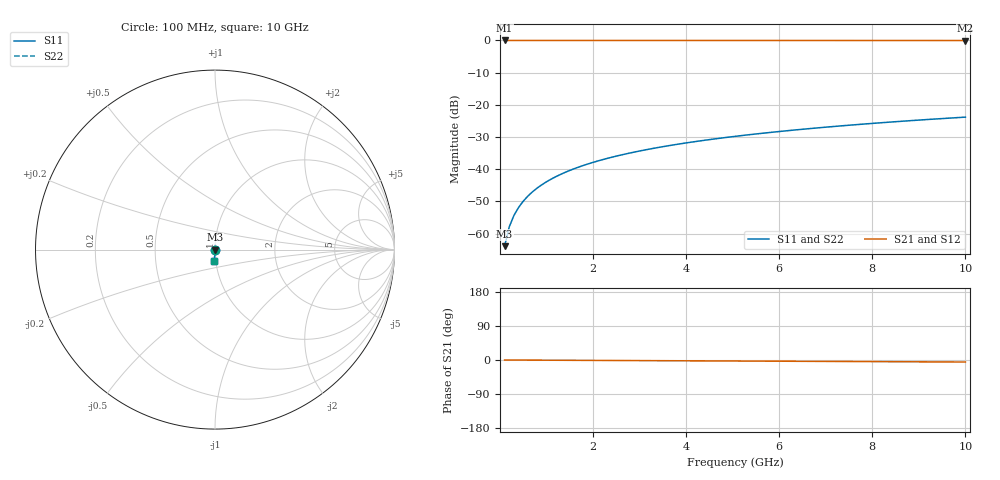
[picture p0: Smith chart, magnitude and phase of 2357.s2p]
# Hz S RI R 50.00
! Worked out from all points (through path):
!   100 points, 100 MHz to 10 GHz, reference 50 ohm
!   highest |S21| = 0.00 dB at 100 MHz (marker M1); lowest = 0.0 dB at 10 GHz (marker M2)
!   lowest |S11| = -63.9 dB at 100 MHz (marker M3), VSWR 1.00, Z = 50 - j0.0639 ohm
!   |S11| at or under -10 dB: start of sweep to end of sweep
!   |S22| runs from -63.9 to -23.8 dB; largest |S21 - S12| = 0
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1e8  4.02e-05 -0.000639  1 -0.000923  1 -0.000923  4.02e-05 -0.000639
2e8  3.8e-05 -0.00128  1 -0.00185  1 -0.00185  3.8e-05 -0.00128
3e8  3.45e-05 -0.00192  0.9999 -0.00277  0.9999 -0.00277  3.45e-05 -0.00192
4e8  2.98e-05 -0.00256  0.9999 -0.00369  0.9999 -0.00369  2.98e-05 -0.00256
5e8  2.39e-05 -0.0032  0.9999 -0.00461  0.9999 -0.00461  2.39e-05 -0.0032
6e8  1.68e-05 -0.00383  0.9999 -0.00554  0.9999 -0.00554  1.68e-05 -0.00383
7e8  8.45e-06 -0.00447  0.9999 -0.00646  0.9999 -0.00646  8.45e-06 -0.00447
8e8  -1.04e-06 -0.00511  0.9999 -0.00738  0.9999 -0.00738  -1.04e-06 -0.00511
9e8  -1.17e-05 -0.00575  0.9999 -0.00831  0.9999 -0.00831  -1.17e-05 -0.00575
1.1e9  -3.67e-05 -0.00703  0.9999 -0.0102  0.9999 -0.0102  -3.67e-05 -0.00703
1.4e9  -8.3e-05 -0.00895  0.9998 -0.0129  0.9998 -0.0129  -8.3e-05 -0.00895
1.8e9  -0.000161 -0.0115  0.9997 -0.0166  0.9997 -0.0166  -0.000161 -0.0115
2.1e9  -0.000233 -0.0134  0.9997 -0.0194  0.9997 -0.0194  -0.000233 -0.0134
2.5e9  -0.000345 -0.016  0.9995 -0.0231  0.9995 -0.0231  -0.000345 -0.016
2.9e9  -0.000476 -0.0186  0.9994 -0.0268  0.9994 -0.0268  -0.000476 -0.0186
3.4e9  -0.000667 -0.0218  0.9992 -0.0314  0.9992 -0.0314  -0.000667 -0.0218
4.2e9  -0.00103 -0.0269  0.9988 -0.0389  0.9988 -0.0389  -0.00103 -0.0269
5.1e9  -0.00154 -0.0327  0.9983 -0.0473  0.9983 -0.0473  -0.00154 -0.0327
5.9e9  -0.00208 -0.0379  0.9977 -0.0547  0.9977 -0.0547  -0.00208 -0.0379
6.7e9  -0.00269 -0.043  0.997 -0.0622  0.997 -0.0622  -0.00269 -0.043
8.4e9  -0.00425 -0.054  0.9954 -0.078  0.9954 -0.078  -0.00425 -0.054
1e10  -0.00604 -0.0642  0.9935 -0.093  0.9935 -0.093  -0.00604 -0.0642
